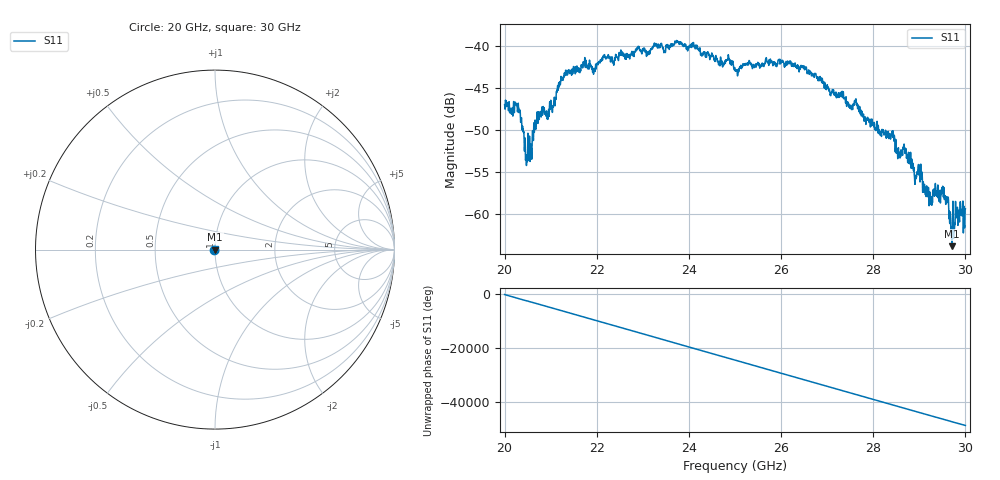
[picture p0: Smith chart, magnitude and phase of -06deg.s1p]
#  HZ  S  RI  R  50.00
! Rohde & Schwarz ZVA40 4Ports - Version 3.90 - 1145.1110k42 SN: 100403
! Date: 2023-10-03 11:32:00
! Measurement: S12
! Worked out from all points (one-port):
!   5001 points, 20 GHz to 30 GHz, reference 50 ohm
!   lowest |S11| = -63.9 dB at 29.71 GHz (marker M1), VSWR 1.00, Z = 50.1 + j0.0388 ohm
!   |S11| at or under -10 dB: start of sweep to end of sweep
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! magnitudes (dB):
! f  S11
! 20 GHz  -47.0
! 20.29 GHz  -47.2
! 20.45 GHz  -52.0
! 20.51 GHz  -50.4
! 20.74 GHz  -47.9
! 21.06 GHz  -46.9
! 21.25 GHz  -44.0
! 21.72 GHz  -42.0
! 21.94 GHz  -42.7
! 22.13 GHz  -41.6
! 22.5 GHz  -40.8
! 23.75 GHz  -39.5
! 24.86 GHz  -41.3
! 25 GHz  -42.8
! 26.25 GHz  -42.1
! 27.5 GHz  -47.3
! 27.63 GHz  -46.9
! 28.14 GHz  -50.3
! 28.42 GHz  -50.6
! 28.55 GHz  -52.1
! 28.75 GHz  -53.8
! 28.91 GHz  -55.6
! 29.02 GHz  -56.2
! 29.24 GHz  -58.7
! 29.52 GHz  -57.9
! 29.71 GHz  -63.9
! 29.83 GHz  -60.0
! 30 GHz  -59.4
